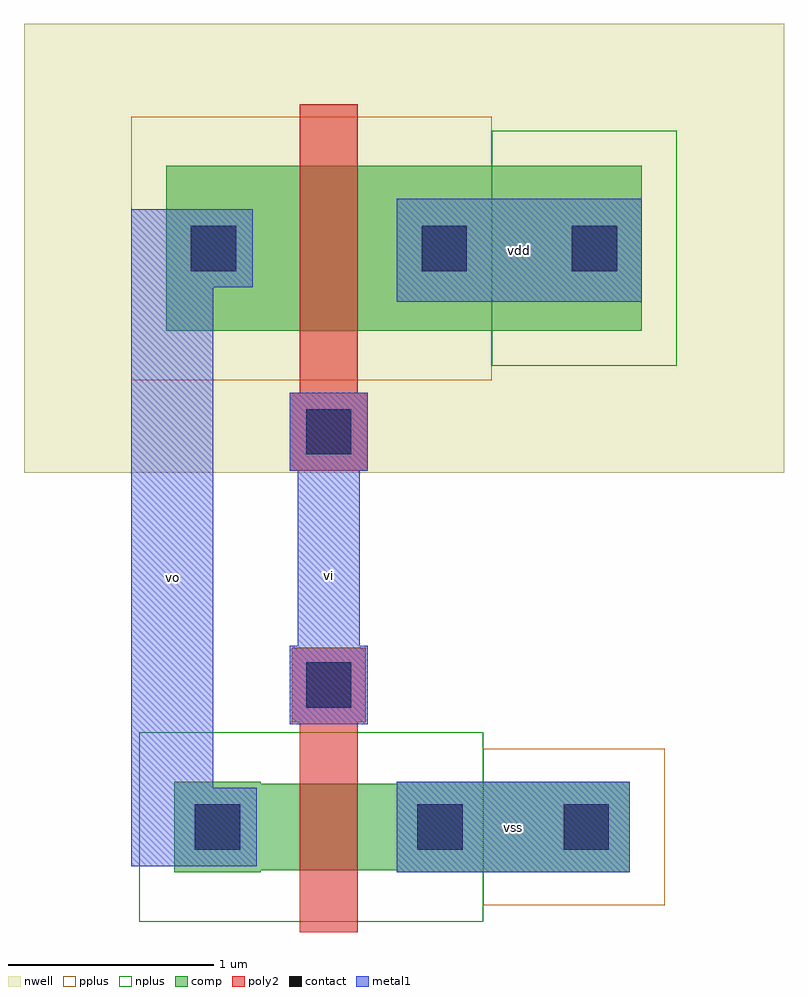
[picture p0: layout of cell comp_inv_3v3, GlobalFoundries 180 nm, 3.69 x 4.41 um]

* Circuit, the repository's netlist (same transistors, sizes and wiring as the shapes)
* Extracted by KLayout with GF180MCU LVS runset on : 09/08/2026 20:01

.SUBCKT comp_inv_3v3 vo vi vdd vss
M$1 vdd vi vo vdd pfet_03v3 L=0.28U W=0.8U AS=0.52P AD=0.52P PS=2.9U PD=2.9U
M$2 vss vi vo vss nfet_03v3 L=0.28U W=0.42U AS=0.2646P AD=0.2646P PS=2.1U
+ PD=2.1U
.ENDS comp_inv_3v3

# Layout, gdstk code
import gdstk
lib = gdstk.Library(unit=1e-6, precision=5e-09)
def R(c, l, rs):  # rectangles x0, y0, x1, y1
    for r in rs: c.add(gdstk.rectangle(r[:2], r[2:], *l))
nwell = (21, 0)
comp = (22, 0)
poly2 = (30, 0)
pplus = (31, 0)
nplus = (32, 0)
contact = (33, 0)
metal1 = (34, 0)

nfet = lib.new_cell('nfet')
R(nfet, comp, [(-0.42,-0.01,0,0.43), (0.66,-0.01,1.08,0.43), (1.08,-0.01,1.79,0.43), (0,0,0.66,0.42)])
R(nfet, poly2, [(0.19,-0.3,0.47,0.72), (0.15,0.72,0.51,1.08)])
R(nfet, pplus, [(1.08,-0.17,1.96,0.59)])
R(nfet, nplus, [(-0.59,-0.25,1.08,0.67)])
R(nfet, contact, [(-0.32,0.1,-0.1,0.32), (0.76,0.1,0.98,0.32), (1.47,0.1,1.69,0.32), (0.22,0.79,0.44,1.01)])
R(nfet, metal1, [(-0.4,0.02,-0.02,0.4), (0.68,0.02,1.06,0.4), (1.39,0.02,1.77,0.4), (0.14,0.71,0.52,1.09)])

pfet = lib.new_cell('pfet')
R(pfet, nwell, [(-1.15,-0.69,2.54,1.49)])
R(pfet, comp, [(-0.46,0,0,0.8), (0,0,0.66,0.8), (0.66,0,1.12,0.8), (1.12,0,1.85,0.8)])
R(pfet, poly2, [(0.14,-0.68,0.52,-0.3), (0.19,-0.3,0.47,1.1)])
R(pfet, pplus, [(-0.63,-0.24,1.12,1.04)])
R(pfet, nplus, [(1.12,-0.17,2.02,0.97)])
R(pfet, contact, [(0.22,-0.6,0.44,-0.38), (-0.34,0.29,-0.12,0.51), (0.78,0.29,1,0.51), (1.51,0.29,1.73,0.51)])
R(pfet, metal1, [(0.14,-0.68,0.52,-0.3), (-0.42,0.21,-0.04,0.59), (0.7,0.21,1.08,0.59), (1.43,0.21,1.81,0.59)])

comp_inv_3v3 = lib.new_cell('comp_inv_3v3')
R(comp_inv_3v3, metal1, [(0.34,-1.42,1.47,-0.98), (-0.95,-1.39,-0.55,1.8), (0.34,1.35,1.53,1.85)])
comp_inv_3v3.add(gdstk.FlexPath([(0.01,0.83),(0.01,-0.62),(0.01,-0.62)], 0.3, ends="flush", simple_path=True, layer=34, datatype=0))  # metal1
comp_inv_3v3.add(gdstk.Reference(nfet, (-0.32,-1.41)))
comp_inv_3v3.add(gdstk.Reference(pfet, (-0.32,1.21)))
comp_inv_3v3.add(gdstk.Label('vo', (-0.75,0.01), layer=34, texttype=10))
comp_inv_3v3.add(gdstk.Label('vi', (0.01,0.02), layer=34, texttype=10))
comp_inv_3v3.add(gdstk.Label('vdd', (0.935,1.6), layer=34, texttype=10))
comp_inv_3v3.add(gdstk.Label('vss', (0.905,-1.2), layer=34, texttype=10))

lib.write_gds('comp_inv_3v3.gds')
